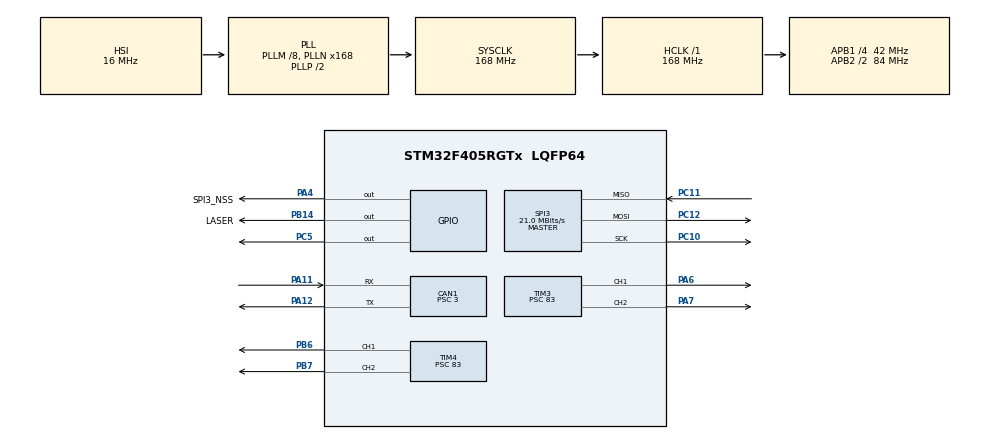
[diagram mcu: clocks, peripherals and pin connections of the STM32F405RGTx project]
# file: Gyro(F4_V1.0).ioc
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CAN1.ABOM=ENABLE
CAN1.BS1=CAN_BS1_9TQ
CAN1.BS2=CAN_BS2_4TQ
CAN1.CalculateTimeQuantum=71.42857142857143
CAN1.Prescaler=3
CAN1.SJW=CAN_SJW_1TQ
FREERTOS.INCLUDE_uxTaskGetStackHighWaterMark=1
FREERTOS.INCLUDE_vTaskDelayUntil=1
FREERTOS.Tasks01=defaultTask,-1,128,StartDefaultTask,Default,NULL,Dynamic,NULL,NULL;shootTask,0,128,shoot_task,Default,NULL,Dynamic,NULL,NULL;gimbalTask,0,256,gimbal_task,Default,NULL,Dynamic,NULL,NULL
Mcu.Family=STM32F4
Mcu.Name=STM32F405RGTx
Mcu.Package=LQFP64
NVIC.CAN1_RX0_IRQn=true\:5\:0\:false\:false\:true\:true\:true
NVIC.CAN1_TX_IRQn=true\:5\:0\:false\:false\:true\:true\:true
NVIC.PriorityGroup=NVIC_PRIORITYGROUP_4
PA11.Mode=Master
PA11.Signal=CAN1_RX
PA12.Mode=Master
PA12.Signal=CAN1_TX
PA13.Mode=Trace_Asynchronous_SW
PA13.Signal=SYS_JTMS-SWDIO
PA14.Mode=Trace_Asynchronous_SW
PA14.Signal=SYS_JTCK-SWCLK
PA4.GPIO_Label=SPI3_NSS
PA4.Signal=GPIO_Output
PA6.Signal=S_TIM3_CH1
PA7.Signal=S_TIM3_CH2
PB14.GPIO_Label=LASER
PB14.Signal=GPIO_Output
PB3.Mode=Trace_Asynchronous_SW
PB3.Signal=SYS_JTDO-SWO
PB6.Signal=S_TIM4_CH1
PB7.Signal=S_TIM4_CH2
PC10.Mode=Full_Duplex_Master
PC10.Signal=SPI3_SCK
PC11.Mode=Full_Duplex_Master
PC11.Signal=SPI3_MISO
PC12.Mode=Full_Duplex_Master
PC12.Signal=SPI3_MOSI
PC5.Signal=GPIO_Output
PH0-OSC_IN.Mode=HSE-External-Oscillator
PH0-OSC_IN.Signal=RCC_OSC_IN
PH1-OSC_OUT.Mode=HSE-External-Oscillator
PH1-OSC_OUT.Signal=RCC_OSC_OUT
ProjectManager.HeapSize=0x200
ProjectManager.StackSize=0x400
ProjectManager.TargetToolchain=MDK-ARM V5
RCC.48MHZClocksFreq_Value=84000000
RCC.AHBFreq_Value=168000000
RCC.APB1CLKDivider=RCC_HCLK_DIV4
RCC.APB1Freq_Value=42000000
RCC.APB1TimFreq_Value=84000000
RCC.APB2CLKDivider=RCC_HCLK_DIV2
RCC.APB2Freq_Value=84000000
RCC.APB2TimFreq_Value=168000000
RCC.CortexFreq_Value=168000000
RCC.HCLKFreq_Value=168000000
RCC.HSE_VALUE=8000000
RCC.HSI_VALUE=16000000
RCC.LSE_VALUE=32768
RCC.PLLM=8
RCC.PLLN=168
RCC.SYSCLKFreq_VALUE=168000000
RCC.SYSCLKSource=RCC_SYSCLKSOURCE_PLLCLK
RCC.VCOOutputFreq_Value=336000000
SH.S_TIM3_CH1.0=TIM3_CH1,PWM Generation1 CH1
SH.S_TIM3_CH2.0=TIM3_CH2,PWM Generation2 CH2
SH.S_TIM4_CH1.0=TIM4_CH1,PWM Generation1 CH1
SH.S_TIM4_CH2.0=TIM4_CH2,PWM Generation2 CH2
SPI3.BaudRatePrescaler=SPI_BAUDRATEPRESCALER_2
SPI3.CalculateBaudRate=21.0 MBits/s
SPI3.Direction=SPI_DIRECTION_2LINES
SPI3.Mode=SPI_MODE_MASTER
SPI3.VirtualType=VM_MASTER
TIM3.Channel-PWM\ Generation1\ CH1=TIM_CHANNEL_1
TIM3.Channel-PWM\ Generation2\ CH2=TIM_CHANNEL_2
TIM3.Period=19999
TIM3.Prescaler=83
TIM3.Pulse-PWM\ Generation1\ CH1=1000
TIM3.Pulse-PWM\ Generation2\ CH2=1000
TIM4.Channel-PWM\ Generation1\ CH1=TIM_CHANNEL_1
TIM4.Channel-PWM\ Generation2\ CH2=TIM_CHANNEL_2
TIM4.Period=19999
TIM4.Prescaler=83
TIM4.Pulse-PWM\ Generation1\ CH1=1000
TIM4.Pulse-PWM\ Generation2\ CH2=10000
VP_FREERTOS_VS_ENABLE.Mode=Enabled
board=Gyro(F4_V1.0)

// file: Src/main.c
/**
  ******************************************************************************
  * @file           : main.c
  * @brief          : Main program body
  ******************************************************************************
  * This notice applies to any and all portions of this file
  * that are not between comment pairs USER CODE BEGIN and
  * USER CODE END. Other portions of this file, whether
  * inserted by the user or by software development tools
  * are owned by their respective copyright owners.
  *
  * Copyright (c) 2019 STMicroelectronics International N.V.
  * All rights reserved.
  *
  * Redistribution and use in source and binary forms, with or without
  * modification, are permitted, provided that the following conditions are met:
  *
  * 1. Redistribution of source code must retain the above copyright notice,
  *    this list of conditions and the following disclaimer.
  * 2. Redistributions in binary form must reproduce the above copyright notice,
  *    this list of conditions and the following disclaimer in the documentation
  *    and/or other materials provided with the distribution.
  * 3. Neither the name of STMicroelectronics nor the names of other
  *    contributors to this software may be used to endorse or promote products
  *    derived from this software without specific written permission.
  * 4. This software, including modifications and/or derivative works of this
  *    software, must execute solely and exclusively on microcontroller or
  *    microprocessor devices manufactured by or for STMicroelectronics.
  * 5. Redistribution and use of this software other than as permitted under
  *    this license is void and will automatically terminate your rights under
  *    this license.
  *
  * THIS SOFTWARE IS PROVIDED BY STMICROELECTRONICS AND CONTRIBUTORS "AS IS"
  * AND ANY EXPRESS, IMPLIED OR STATUTORY WARRANTIES, INCLUDING, BUT NOT
  * LIMITED TO, THE IMPLIED WARRANTIES OF MERCHANTABILITY, FITNESS FOR A
  * PARTICULAR PURPOSE AND NON-INFRINGEMENT OF THIRD PARTY INTELLECTUAL PROPERTY
  * RIGHTS ARE DISCLAIMED TO THE FULLEST EXTENT PERMITTED BY LAW. IN NO EVENT
  * SHALL STMICROELECTRONICS OR CONTRIBUTORS BE LIABLE FOR ANY DIRECT, INDIRECT,
  * INCIDENTAL, SPECIAL, EXEMPLARY, OR CONSEQUENTIAL DAMAGES (INCLUDING, BUT NOT
  * LIMITED TO, PROCUREMENT OF SUBSTITUTE GOODS OR SERVICES; LOSS OF USE, DATA,
  * OR PROFITS; OR BUSINESS INTERRUPTION) HOWEVER CAUSED AND ON ANY THEORY OF
  * LIABILITY, WHETHER IN CONTRACT, STRICT LIABILITY, OR TORT (INCLUDING
  * NEGLIGENCE OR OTHERWISE) ARISING IN ANY WAY OUT OF THE USE OF THIS SOFTWARE,
  * EVEN IF ADVISED OF THE POSSIBILITY OF SUCH DAMAGE.
  *
  ******************************************************************************
  */
#include "main.h"
#include "stm32f4xx_hal.h"
#include "cmsis_os.h"
#include "can.h"
#include "spi.h"
#include "tim.h"
#include "gpio.h"

/* USER CODE BEGIN Includes */
#include "bsp_imu.h"
#include "bsp_can.h"
#include "shoot_task.h"
#include "RM_Define.h"
#include "calibrate.h"

/* USER CODE END Includes */

/* USER CODE BEGIN PV */
/* Private variables ---------------------------------------------------------*/

/* USER CODE END PV */

void SystemClock_Config(void);
void MX_FREERTOS_Init(void);

/* USER CODE BEGIN PFP */
/* Private function prototypes -----------------------------------------------*/

/* USER CODE END PFP */

int main(void)
{

  /* MCU Configuration----------------------------------------------------------*/

  /* Reset of all peripherals, Initializes the Flash interface and the Systick. */
  HAL_Init();

  /* Configure the system clock */
  SystemClock_Config();

  /* Initialize all configured peripherals */
  MX_GPIO_Init();
  MX_SPI3_Init();
  MX_CAN1_Init();
  MX_TIM3_Init();
  MX_TIM4_Init();
  /* USER CODE BEGIN 2 */
    //hardware device initialize
	HAL_Delay(1000);
	pwm_device_init();
	cali_param_init();
	imu_device_init();
	can_device_init();

  //open can receive it
  can_receive_start();

	#if gimbal_test==1
		while(1);
	#endif

  /* USER CODE END 2 */

  /* Call init function for freertos objects (in freertos.c) */
  MX_FREERTOS_Init();

  /* Start scheduler */
  osKernelStart();

  /* We should never get here as control is now taken by the scheduler */

  /* Infinite loop */
  while (1)
  {

  }

}

void SystemClock_Config(void)
{

  RCC_OscInitTypeDef RCC_OscInitStruct;
  RCC_ClkInitTypeDef RCC_ClkInitStruct;

    /**Configure the main internal regulator output voltage
    */
  __HAL_RCC_PWR_CLK_ENABLE();

  __HAL_PWR_VOLTAGESCALING_CONFIG(PWR_REGULATOR_VOLTAGE_SCALE1);

    /**Initializes the CPU, AHB and APB busses clocks
    */
  RCC_OscInitStruct.OscillatorType = RCC_OSCILLATORTYPE_HSI;
  RCC_OscInitStruct.HSIState = RCC_HSI_ON;
  RCC_OscInitStruct.HSICalibrationValue = 16;
  RCC_OscInitStruct.PLL.PLLState = RCC_PLL_ON;
  RCC_OscInitStruct.PLL.PLLSource = RCC_PLLSOURCE_HSI;
  RCC_OscInitStruct.PLL.PLLM = 8;
  RCC_OscInitStruct.PLL.PLLN = 168;
  RCC_OscInitStruct.PLL.PLLP = RCC_PLLP_DIV2;
  RCC_OscInitStruct.PLL.PLLQ = 4;
  if (HAL_RCC_OscConfig(&RCC_OscInitStruct) != HAL_OK)
  {
    _Error_Handler(__FILE__, __LINE__);
  }

    /**Initializes the CPU, AHB and APB busses clocks
    */
  RCC_ClkInitStruct.ClockType = RCC_CLOCKTYPE_HCLK|RCC_CLOCKTYPE_SYSCLK
                              |RCC_CLOCKTYPE_PCLK1|RCC_CLOCKTYPE_PCLK2;
  RCC_ClkInitStruct.SYSCLKSource = RCC_SYSCLKSOURCE_PLLCLK;
  RCC_ClkInitStruct.AHBCLKDivider = RCC_SYSCLK_DIV1;
  RCC_ClkInitStruct.APB1CLKDivider = RCC_HCLK_DIV4;
  RCC_ClkInitStruct.APB2CLKDivider = RCC_HCLK_DIV2;

  if (HAL_RCC_ClockConfig(&RCC_ClkInitStruct, FLASH_LATENCY_5) != HAL_OK)
  {
    _Error_Handler(__FILE__, __LINE__);
  }

    /**Configure the Systick interrupt time
    */
  HAL_SYSTICK_Config(HAL_RCC_GetHCLKFreq()/1000);

    /**Configure the Systick
    */
  HAL_SYSTICK_CLKSourceConfig(SYSTICK_CLKSOURCE_HCLK);

  /* SysTick_IRQn interrupt configuration */
  HAL_NVIC_SetPriority(SysTick_IRQn, 15, 0);
}

void _Error_Handler(char *file, int line)
{
  while(1)
  {
  }
}

/************************ (C) COPYRIGHT STMicroelectronics *****END OF FILE****/

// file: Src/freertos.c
/**
  ******************************************************************************
  * File Name          : freertos.c
  * Description        : Code for freertos applications
  ******************************************************************************
  * This notice applies to any and all portions of this file
  * that are not between comment pairs USER CODE BEGIN and
  * USER CODE END. Other portions of this file, whether
  * inserted by the user or by software development tools
  * are owned by their respective copyright owners.
  *
  * Copyright (c) 2019 STMicroelectronics International N.V.
  * All rights reserved.
  *
  * Redistribution and use in source and binary forms, with or without
  * modification, are permitted, provided that the following conditions are met:
  *
  * 1. Redistribution of source code must retain the above copyright notice,
  *    this list of conditions and the following disclaimer.
  * 2. Redistributions in binary form must reproduce the above copyright notice,
  *    this list of conditions and the following disclaimer in the documentation
  *    and/or other materials provided with the distribution.
  * 3. Neither the name of STMicroelectronics nor the names of other
  *    contributors to this software may be used to endorse or promote products
  *    derived from this software without specific written permission.
  * 4. This software, including modifications and/or derivative works of this
  *    software, must execute solely and exclusively on microcontroller or
  *    microprocessor devices manufactured by or for STMicroelectronics.
  * 5. Redistribution and use of this software other than as permitted under
  *    this license is void and will automatically terminate your rights under
  *    this license.
  *
  * THIS SOFTWARE IS PROVIDED BY STMICROELECTRONICS AND CONTRIBUTORS "AS IS"
  * AND ANY EXPRESS, IMPLIED OR STATUTORY WARRANTIES, INCLUDING, BUT NOT
  * LIMITED TO, THE IMPLIED WARRANTIES OF MERCHANTABILITY, FITNESS FOR A
  * PARTICULAR PURPOSE AND NON-INFRINGEMENT OF THIRD PARTY INTELLECTUAL PROPERTY
  * RIGHTS ARE DISCLAIMED TO THE FULLEST EXTENT PERMITTED BY LAW. IN NO EVENT
  * SHALL STMICROELECTRONICS OR CONTRIBUTORS BE LIABLE FOR ANY DIRECT, INDIRECT,
  * INCIDENTAL, SPECIAL, EXEMPLARY, OR CONSEQUENTIAL DAMAGES (INCLUDING, BUT NOT
  * LIMITED TO, PROCUREMENT OF SUBSTITUTE GOODS OR SERVICES; LOSS OF USE, DATA,
  * OR PROFITS; OR BUSINESS INTERRUPTION) HOWEVER CAUSED AND ON ANY THEORY OF
  * LIABILITY, WHETHER IN CONTRACT, STRICT LIABILITY, OR TORT (INCLUDING
  * NEGLIGENCE OR OTHERWISE) ARISING IN ANY WAY OUT OF THE USE OF THIS SOFTWARE,
  * EVEN IF ADVISED OF THE POSSIBILITY OF SUCH DAMAGE.
  *
  ******************************************************************************
  */

#include "FreeRTOS.h"
#include "task.h"
#include "cmsis_os.h"

/* USER CODE BEGIN Includes */
#include "bsp_imu.h"
#include "bsp_can.h"
#include "stdbool.h"
#include "shoot_task.h"
#include "gimbal_task.h"

/* USER CODE END Includes */

osThreadId defaultTaskHandle;
osThreadId shootTaskHandle;
osThreadId gimbalTaskHandle;

/* USER CODE BEGIN Variables */
bool Laser_flag = 0;

/* USER CODE END Variables */

void StartDefaultTask(void const * argument);
void shoot_task(void const * argument);
void gimbal_task(void const * argument);

void MX_FREERTOS_Init(void); /* (MISRA C 2004 rule 8.1) */

/* Hook prototypes */

/* Init FreeRTOS */

void MX_FREERTOS_Init(void) {

  /* Create the thread(s) */
  /* definition and creation of defaultTask */
  osThreadDef(defaultTask, StartDefaultTask, osPriorityBelowNormal, 0, 128);
  defaultTaskHandle = osThreadCreate(osThread(defaultTask), NULL);

  /* definition and creation of shootTask */
  osThreadDef(shootTask, shoot_task, osPriorityNormal, 0, 128);
  shootTaskHandle = osThreadCreate(osThread(shootTask), NULL);

  /* definition and creation of gimbalTask */
  osThreadDef(gimbalTask, gimbal_task, osPriorityNormal, 0, 256);
  gimbalTaskHandle = osThreadCreate(osThread(gimbalTask), NULL);

}

/* StartDefaultTask function */
void StartDefaultTask(void const * argument)
{

  /* USER CODE BEGIN StartDefaultTask */
  /* Infinite loop */
  for(;;)
  {
//	  if(Laser_flag == 1)
//		  HAL_GPIO_WritePin(LASER_GPIO_Port,LASER_Pin,GPIO_PIN_RESET);
//	  else
//		  HAL_GPIO_WritePin(LASER_GPIO_Port,LASER_Pin,GPIO_PIN_SET);
    osDelay(1);
  }
  /* USER CODE END StartDefaultTask */
}

/* shoot_task function */
void shoot_task(void const * argument)
{
  /* USER CODE BEGIN shoot_task */
  /* Infinite loop */
  for(;;)
  {
		ShootTask();
  }
  /* USER CODE END shoot_task */
}

/* gimbal_task function */
void gimbal_task(void const * argument)
{
  /* USER CODE BEGIN gimbal_task */
  /* Infinite loop */
  for(;;)
  {
		GimbalTask();
  }
  /* USER CODE END gimbal_task */
}

/************************ (C) COPYRIGHT STMicroelectronics *****END OF FILE****/
